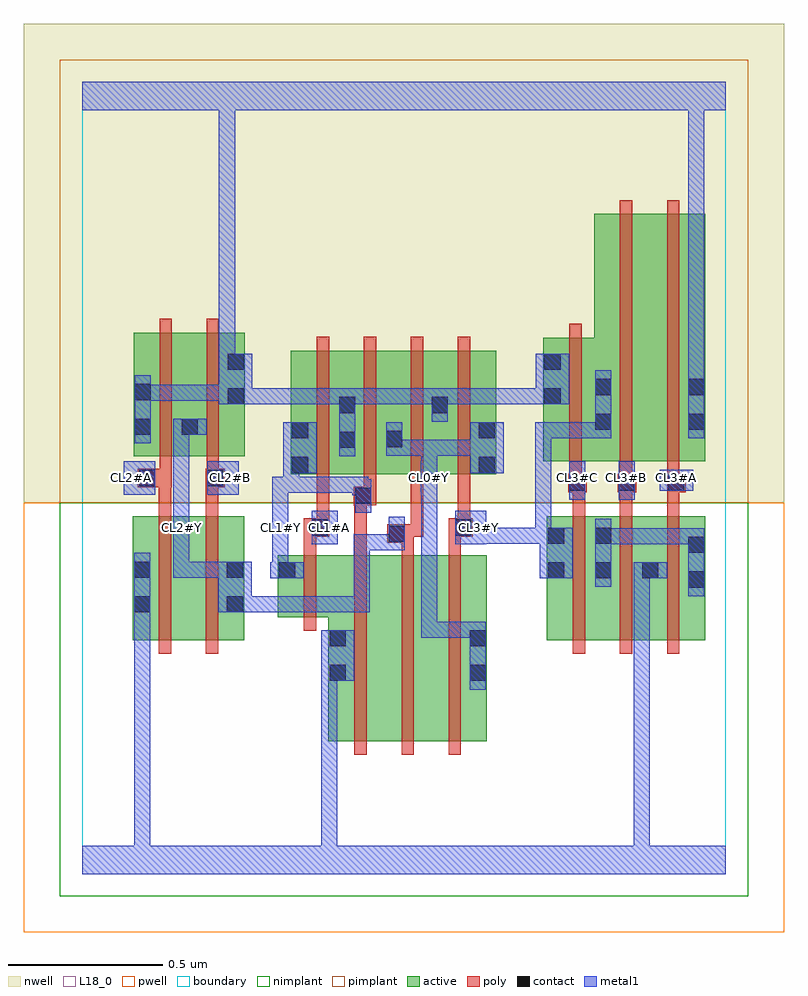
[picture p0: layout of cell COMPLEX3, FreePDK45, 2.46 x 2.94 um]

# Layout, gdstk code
import gdstk
lib = gdstk.Library(unit=1e-6, precision=1e-09)
def R(c, l, rs):  # rectangles x0, y0, x1, y1
    for r in rs: c.add(gdstk.rectangle(r[:2], r[2:], *l))
def A(c, l, x, y, w, h, nx, ny, dx, dy):  # array of equal rectangles
    R(c, l, [(x+i*dx, y+j*dy, x+i*dx+w, y+j*dy+h) for i in range(nx) for j in range(ny)])
active = (1, 0)
pwell = (2, 0)
nwell = (3, 0)
nimplant = (4, 0)
pimplant = (5, 0)
poly = (9, 0)
contact = (10, 0)
metal1 = (11, 0)
L18_0 = (18, 0)
boundary = (235, 0)

complex3 = lib.new_cell('COMPLEX3')
R(complex3, active, [(0.796,0.43,0.976,1.03), (0.976,0.43,1.128,1.03), (1.128,0.43,1.308,1.03), (1.248,0.43,1.308,1.03), (0.796,0.62,0.856,0.83), (0.164,0.756,0.224,1.156), (0.164,0.756,0.344,1.156), (0.344,0.756,0.524,1.156), (0.464,0.756,0.524,1.156), (1.502,0.756,1.562,1.156), (1.502,0.756,1.714,1.156), (1.654,0.756,1.714,1.156), (1.654,0.756,1.866,1.156), (1.806,0.756,2.014,1.156), (1.806,0.756,1.866,1.012), (1.954,0.756,2.014,1.156), (0.632,0.83,0.856,1.03), (0.632,0.952,0.692,1.03), (0.674,1.292,0.734,1.692), (0.674,1.292,0.886,1.692), (0.826,1.292,0.886,1.692), (0.826,1.292,1.038,1.692), (0.978,1.292,1.186,1.692), (0.978,1.292,1.038,1.644), (1.126,1.292,1.186,1.692), (1.126,1.292,1.338,1.692), (1.278,1.292,1.338,1.644), (1.49,1.334,1.55,1.734), (1.49,1.334,1.714,1.734), (1.654,1.334,1.834,2.134), (1.834,1.334,2.014,2.134), (1.954,1.334,2.014,2.134), (0.166,1.35,0.378,1.75), (0.166,1.35,0.226,1.644), (0.318,1.35,0.526,1.75), (0.466,1.35,0.526,1.75), (0.318,1.416,0.378,1.644), (1.654,1.432,1.714,1.644)])
R(complex3, pwell, [(-0.188,-0.188,2.268,1.2)])
R(complex3, nwell, [(-0.188,1.2,2.268,2.748)])
R(complex3, nimplant, [(-0.072,-0.072,2.152,1.2)])
R(complex3, pimplant, [(-0.072,1.2,2.152,2.632)])
A(complex3, poly, 0.88, 0.386, 0.04, 0.688, 3, 1, 0.152, 0)
A(complex3, poly, 1.586, 0.712, 0.04, 0.488, 3, 1, 0.152, 0)
A(complex3, poly, 1.586, 1.16, 0.04, 0.114, 3, 1, 0.152, 0)
A(complex3, poly, 1.57, 1.234, 0.06, 0.06, 3, 1, 0.16, 0)
A(complex3, poly, 0.758, 1.248, 0.04, 0.488, 4, 1, 0.152, 0)
R(complex3, poly, [(0.248,0.712,0.288,1.2), (0.4,0.712,0.44,1.2), (0.716,0.786,0.756,1.074), (0.716,1.034,0.756,1.13), (0.88,1.034,0.92,1.232), (1.032,1.034,1.072,1.11), (1.184,1.034,1.224,1.13), (0.986,1.07,1.072,1.13), (0.716,1.09,0.798,1.15), (1.032,1.09,1.072,1.13), (1.032,1.09,1.102,1.13), (1.062,1.09,1.102,1.288), (1.184,1.09,1.262,1.15), (0.758,1.11,0.798,1.15), (0.758,1.11,0.798,1.15), (0.758,1.11,0.798,1.288), (1.214,1.11,1.254,1.15), (1.214,1.11,1.254,1.15), (1.214,1.11,1.254,1.288), (0.248,1.16,0.288,1.29), (0.4,1.16,0.44,1.29), (0.878,1.192,0.95,1.252), (0.88,1.192,0.92,1.232), (0.88,1.192,0.92,1.232), (0.91,1.212,0.95,1.288), (1.586,1.234,1.626,1.274), (1.586,1.234,1.626,1.274), (1.738,1.234,1.778,1.274), (1.738,1.234,1.778,1.274), (1.89,1.234,1.93,1.274), (1.89,1.234,1.93,1.274), (0.18,1.25,0.29,1.31), (0.248,1.25,0.288,1.29), (0.248,1.25,0.288,1.29), (0.4,1.25,0.46,1.31), (1.574,1.254,1.614,1.33), (1.738,1.254,1.778,1.33), (1.89,1.254,1.93,1.33), (0.25,1.27,0.29,1.346), (0.402,1.27,0.442,1.346), (0.402,1.27,0.442,1.31), (0.402,1.27,0.442,1.31), (1.574,1.29,1.614,1.778), (1.738,1.29,1.778,2.178), (1.89,1.29,1.93,2.178), (0.25,1.306,0.29,1.794), (0.402,1.306,0.442,1.794)])
A(complex3, contact, 1.506, 0.956, 0.052, 0.052, 3, 1, 0.152, 0)
A(complex3, contact, 1.574, 1.238, 0.052, 0.052, 3, 1, 0.16, 0)
R(complex3, contact, [(0.8,0.624,0.852,0.676), (1.252,0.624,1.304,0.676), (0.8,0.736,0.852,0.788), (1.252,0.736,1.304,0.788), (0.168,0.846,0.22,0.898), (0.468,0.846,0.52,0.898), (1.958,0.926,2.01,0.978), (0.636,0.956,0.688,1.008), (0.168,0.958,0.22,1.01), (0.468,0.958,0.52,1.01), (1.958,1.038,2.01,1.09), (1.506,1.068,1.558,1.12), (1.658,1.068,1.71,1.12), (0.99,1.074,1.042,1.126), (0.742,1.094,0.794,1.146), (1.206,1.094,1.258,1.146), (0.882,1.196,0.934,1.248), (0.184,1.254,0.236,1.306), (0.404,1.254,0.456,1.306), (0.678,1.296,0.73,1.348), (1.282,1.296,1.334,1.348), (0.83,1.378,0.882,1.43), (0.982,1.38,1.034,1.432), (0.678,1.408,0.73,1.46), (1.282,1.408,1.334,1.46), (0.17,1.42,0.222,1.472), (0.322,1.42,0.374,1.472), (1.658,1.436,1.71,1.488), (1.958,1.436,2.01,1.488), (0.83,1.49,0.882,1.542), (1.13,1.49,1.182,1.542), (0.47,1.518,0.522,1.57), (1.494,1.518,1.546,1.57), (0.17,1.532,0.222,1.584), (1.658,1.548,1.71,1.6), (1.958,1.548,2.01,1.6), (0.47,1.63,0.522,1.682), (1.494,1.63,1.546,1.682)])
R(complex3, metal1, [(0,0,2.08,0.092), (0.168,0.04,0.22,0.092), (0.168,0.04,0.22,0.092), (0.168,0.04,0.22,0.092), (0.168,0.04,0.22,0.092), (0.168,0.04,0.22,0.092), (0.168,0.04,0.22,0.092), (0.168,0.04,0.22,0.092), (0.168,0.04,0.22,0.092), (0.168,0.04,0.22,0.092), (0.168,0.04,0.22,0.092), (0.168,0.04,0.22,0.092), (0.168,0.04,0.22,0.092), (0.168,0.04,0.22,0.87), (0.772,0.04,0.824,0.092), (0.772,0.04,0.824,0.092), (0.772,0.04,0.824,0.092), (0.772,0.04,0.824,0.092), (0.772,0.04,0.824,0.092), (0.772,0.04,0.824,0.092), (0.772,0.04,0.824,0.092), (0.772,0.04,0.824,0.092), (0.772,0.04,0.824,0.676), (1.782,0.04,1.834,0.092), (1.782,0.04,1.834,0.092), (1.782,0.04,1.834,0.092), (1.782,0.04,1.834,0.092), (1.782,0.04,1.834,0.092), (1.782,0.04,1.834,0.092), (1.782,0.04,1.834,0.092), (1.782,0.04,1.834,0.092), (1.782,0.04,1.834,1.008), (1.252,0.596,1.304,0.816), (0.772,0.624,0.88,0.788), (1.096,0.764,1.148,0.816), (1.096,0.764,1.304,0.816), (1.096,0.764,1.148,1.278), (1.252,0.764,1.304,0.816), (1.252,0.764,1.304,0.816), (0.168,0.818,0.22,1.038), (0.44,0.846,0.548,1.01), (0.496,0.846,0.548,0.898), (0.496,0.846,0.548,0.898), (0.496,0.846,0.548,0.898), (0.496,0.846,0.548,0.898), (0.496,0.846,0.66,0.898), (0.608,0.846,0.66,0.898), (0.608,0.846,0.93,0.898), (0.878,0.846,0.93,0.898), (0.878,0.846,0.93,0.898), (0.878,0.846,0.93,0.898), (0.878,0.846,0.93,1.098), (1.958,0.898,2.01,1.118), (1.658,0.928,1.71,1.148), (0.608,0.956,0.716,1.008), (0.614,0.956,0.666,1.118), (1.478,0.956,1.586,1.12), (1.782,0.956,1.834,1.008), (1.782,0.956,1.834,1.008), (1.782,0.956,1.834,1.008), (1.782,0.956,1.834,1.008), (1.782,0.956,1.89,1.008), (0.294,0.958,0.346,1.01), (0.294,0.958,0.346,1.01), (0.294,0.958,0.346,1.01), (0.294,0.958,0.492,1.01), (0.294,0.958,0.346,1.118), (0.878,1.046,0.93,1.098), (0.878,1.046,0.934,1.098), (0.882,1.046,0.934,1.098), (0.882,1.046,1.038,1.098), (0.986,1.046,1.038,1.098), (0.986,1.046,1.042,1.098), (0.99,1.046,1.042,1.154), (0.294,1.066,0.346,1.174), (0.614,1.066,0.666,1.174), (0.742,1.066,0.826,1.174), (1.206,1.066,1.306,1.174), (1.658,1.066,1.71,1.118), (1.658,1.066,1.71,1.118), (1.658,1.066,1.82,1.118), (1.768,1.066,1.82,1.118), (1.768,1.066,2.01,1.118), (1.958,1.066,2.01,1.118), (1.958,1.066,2.01,1.118), (1.254,1.068,1.306,1.12), (1.254,1.068,1.306,1.12), (1.254,1.068,1.516,1.12), (1.464,1.068,1.516,1.46), (1.464,1.068,1.53,1.12), (1.478,1.068,1.53,1.12), (0.294,1.122,0.346,1.174), (0.294,1.122,0.346,1.174), (0.294,1.122,0.346,1.472), (0.614,1.122,0.666,1.284), (0.882,1.168,0.934,1.276), (1.574,1.21,1.626,1.334), (1.734,1.21,1.786,1.334), (0.872,1.224,0.934,1.276), (0.872,1.224,0.924,1.284), (0.134,1.226,0.236,1.334), (0.404,1.226,0.506,1.334), (1.094,1.226,1.148,1.334), (0.614,1.232,0.702,1.284), (0.65,1.232,0.702,1.284), (0.65,1.232,0.702,1.284), (0.65,1.232,0.924,1.284), (0.65,1.232,0.702,1.348), (1.866,1.238,1.974,1.306), (1.096,1.282,1.148,1.334), (1.096,1.282,1.148,1.334), (1.096,1.282,1.148,1.404), (0.65,1.296,0.758,1.46), (1.254,1.296,1.362,1.46), (0.83,1.35,0.882,1.57), (0.982,1.352,1.034,1.46), (0.982,1.352,1.148,1.404), (1.096,1.352,1.148,1.404), (1.096,1.352,1.148,1.404), (1.096,1.352,1.148,1.404), (1.096,1.352,1.306,1.404), (1.254,1.352,1.306,1.404), (1.254,1.352,1.306,1.404), (0.17,1.392,0.222,1.612), (1.464,1.408,1.516,1.46), (1.464,1.408,1.516,1.46), (1.464,1.408,1.516,1.46), (1.464,1.408,1.516,1.46), (1.464,1.408,1.516,1.46), (1.464,1.408,1.71,1.46), (1.658,1.408,1.71,1.628), (1.958,1.408,2.01,1.628), (0.294,1.42,0.402,1.472), (1.13,1.462,1.182,1.57), (0.442,1.518,0.55,1.682), (0.498,1.518,0.714,1.57), (0.662,1.518,0.714,1.57), (0.662,1.518,0.714,1.57), (0.662,1.518,0.714,1.57), (0.662,1.518,0.882,1.57), (0.83,1.518,0.934,1.57), (0.882,1.518,0.934,1.57), (0.882,1.518,1.038,1.57), (0.986,1.518,1.038,1.57), (0.986,1.518,1.044,1.57), (0.992,1.518,1.044,1.57), (0.992,1.518,1.182,1.57), (1.13,1.518,1.406,1.57), (1.354,1.518,1.406,1.57), (1.354,1.518,1.406,1.57), (1.354,1.518,1.406,1.57), (1.354,1.518,1.518,1.57), (1.466,1.518,1.574,1.682), (0.17,1.53,0.222,1.582), (0.17,1.53,0.222,1.582), (0.17,1.53,0.346,1.582), (0.294,1.53,0.346,1.582), (0.294,1.53,0.346,1.582), (0.294,1.53,0.346,1.582), (0.294,1.53,0.494,1.582), (1.958,1.576,2.01,2.52), (0.442,1.63,0.494,1.682), (0.442,1.63,0.494,1.682), (0.442,1.63,0.494,1.682), (0.442,1.63,0.494,1.682), (0.442,1.63,0.494,1.682), (0.442,1.63,0.494,1.682), (0.442,1.63,0.494,1.682), (0.442,1.63,0.494,1.682), (0.442,1.63,0.494,2.52), (0,2.468,2.08,2.56), (0.442,2.468,0.494,2.52), (0.442,2.468,0.494,2.52), (0.442,2.468,0.494,2.52), (0.442,2.468,0.494,2.52), (0.442,2.468,0.494,2.52), (0.442,2.468,0.494,2.52), (0.442,2.468,0.494,2.52), (0.442,2.468,0.494,2.52), (1.958,2.468,2.01,2.52), (1.958,2.468,2.01,2.52), (1.958,2.468,2.01,2.52), (1.958,2.468,2.01,2.52), (1.958,2.468,2.01,2.52), (1.958,2.468,2.01,2.52), (1.958,2.468,2.01,2.52), (1.958,2.468,2.01,2.52)])
A(complex3, L18_0, 1.574, 1.254, 0.052, 0.052, 3, 1, 0.16, 0)
R(complex3, L18_0, [(0,0,2.08,0.092), (0.168,0.04,0.22,0.092), (0.168,0.04,0.22,0.092), (0.168,0.04,0.22,0.092), (0.168,0.04,0.22,0.092), (0.168,0.04,0.22,0.092), (0.168,0.04,0.22,0.092), (0.168,0.04,0.22,0.092), (0.168,0.04,0.22,0.092), (0.168,0.04,0.22,0.092), (0.168,0.04,0.22,0.092), (0.168,0.04,0.22,0.092), (0.168,0.04,0.22,0.092), (0.168,0.04,0.22,0.87), (0.772,0.04,0.824,0.092), (0.772,0.04,0.824,0.092), (0.772,0.04,0.824,0.092), (0.772,0.04,0.824,0.092), (0.772,0.04,0.824,0.092), (0.772,0.04,0.824,0.092), (0.772,0.04,0.824,0.092), (0.772,0.04,0.824,0.092), (0.772,0.04,0.824,0.676), (1.782,0.04,1.834,0.092), (1.782,0.04,1.834,0.092), (1.782,0.04,1.834,0.092), (1.782,0.04,1.834,0.092), (1.782,0.04,1.834,0.092), (1.782,0.04,1.834,0.092), (1.782,0.04,1.834,0.092), (1.782,0.04,1.834,0.092), (1.782,0.04,1.834,1.008), (1.252,0.596,1.304,0.816), (0.772,0.624,0.88,0.788), (1.096,0.764,1.148,0.816), (1.096,0.764,1.148,1.278), (1.096,0.764,1.304,0.816), (1.252,0.764,1.304,0.816), (1.252,0.764,1.304,0.816), (0.168,0.818,0.22,1.038), (0.44,0.846,0.548,1.01), (0.496,0.846,0.548,0.898), (0.496,0.846,0.548,0.898), (0.496,0.846,0.548,0.898), (0.496,0.846,0.548,0.898), (0.496,0.846,0.66,0.898), (0.608,0.846,0.66,0.898), (0.608,0.846,0.93,0.898), (0.878,0.846,0.93,0.898), (0.878,0.846,0.93,0.898), (0.878,0.846,0.93,0.898), (0.878,0.846,0.93,1.098), (0.608,0.956,0.716,1.008), (0.614,0.956,0.666,1.118), (1.478,0.956,1.586,1.12), (1.782,0.956,1.834,1.008), (1.782,0.956,1.834,1.008), (1.782,0.956,1.834,1.008), (1.782,0.956,1.834,1.008), (1.782,0.956,1.89,1.008), (0.294,0.958,0.346,1.01), (0.294,0.958,0.346,1.01), (0.294,0.958,0.346,1.01), (0.294,0.958,0.346,1.118), (0.294,0.958,0.492,1.01), (0.878,1.046,0.93,1.098), (0.878,1.046,0.934,1.098), (0.882,1.046,0.934,1.098), (0.882,1.046,1.038,1.098), (0.986,1.046,1.038,1.098), (0.986,1.046,1.042,1.098), (0.99,1.046,1.042,1.154), (0.294,1.066,0.346,1.174), (0.614,1.066,0.666,1.174), (0.742,1.066,0.826,1.174), (1.206,1.066,1.306,1.174), (1.254,1.068,1.306,1.12), (1.254,1.068,1.306,1.12), (1.254,1.068,1.516,1.12), (1.464,1.068,1.53,1.12), (1.464,1.068,1.516,1.46), (1.478,1.068,1.53,1.12), (0.294,1.094,0.346,1.146), (0.614,1.094,0.666,1.146), (0.774,1.094,0.826,1.146), (1.254,1.094,1.306,1.146), (0.294,1.122,0.346,1.174), (0.294,1.122,0.346,1.174), (0.294,1.122,0.346,1.472), (0.614,1.122,0.666,1.284), (0.882,1.168,0.934,1.276), (1.574,1.21,1.626,1.334), (1.734,1.21,1.786,1.334), (0.872,1.224,0.924,1.284), (0.872,1.224,0.934,1.276), (0.134,1.226,0.236,1.334), (0.404,1.226,0.506,1.334), (1.094,1.226,1.148,1.334), (0.614,1.232,0.702,1.284), (0.65,1.232,0.702,1.284), (0.65,1.232,0.702,1.284), (0.65,1.232,0.702,1.348), (0.65,1.232,0.924,1.284), (1.866,1.238,1.974,1.306), (0.134,1.254,0.186,1.306), (0.454,1.254,0.506,1.306), (1.094,1.254,1.146,1.306), (1.096,1.282,1.148,1.334), (1.096,1.282,1.148,1.334), (1.096,1.282,1.148,1.404), (0.65,1.296,0.758,1.46), (1.254,1.296,1.362,1.46), (0.83,1.35,0.882,1.57), (0.982,1.352,1.034,1.46), (0.982,1.352,1.148,1.404), (1.096,1.352,1.148,1.404), (1.096,1.352,1.148,1.404), (1.096,1.352,1.148,1.404), (1.096,1.352,1.306,1.404), (1.254,1.352,1.306,1.404), (1.254,1.352,1.306,1.404), (0.17,1.392,0.222,1.612), (1.464,1.408,1.516,1.46), (1.464,1.408,1.516,1.46), (1.464,1.408,1.516,1.46), (1.464,1.408,1.516,1.46), (1.464,1.408,1.516,1.46), (1.464,1.408,1.71,1.46), (1.658,1.408,1.71,1.628), (1.958,1.408,2.01,1.628), (0.294,1.42,0.402,1.472), (1.13,1.462,1.182,1.57), (0.442,1.518,0.55,1.682), (0.498,1.518,0.714,1.57), (0.662,1.518,0.714,1.57), (0.662,1.518,0.714,1.57), (0.662,1.518,0.714,1.57), (0.662,1.518,0.882,1.57), (0.83,1.518,0.934,1.57), (0.882,1.518,0.934,1.57), (0.882,1.518,1.038,1.57), (0.986,1.518,1.038,1.57), (0.986,1.518,1.044,1.57), (0.992,1.518,1.044,1.57), (0.992,1.518,1.182,1.57), (1.13,1.518,1.406,1.57), (1.354,1.518,1.406,1.57), (1.354,1.518,1.406,1.57), (1.354,1.518,1.406,1.57), (1.354,1.518,1.518,1.57), (1.466,1.518,1.574,1.682), (0.17,1.53,0.222,1.582), (0.17,1.53,0.222,1.582), (0.17,1.53,0.346,1.582), (0.294,1.53,0.346,1.582), (0.294,1.53,0.346,1.582), (0.294,1.53,0.346,1.582), (0.294,1.53,0.494,1.582), (1.958,1.576,2.01,2.52), (0.442,1.63,0.494,1.682), (0.442,1.63,0.494,1.682), (0.442,1.63,0.494,1.682), (0.442,1.63,0.494,1.682), (0.442,1.63,0.494,1.682), (0.442,1.63,0.494,1.682), (0.442,1.63,0.494,1.682), (0.442,1.63,0.494,1.682), (0.442,1.63,0.494,2.52), (0,2.468,2.08,2.56), (0.442,2.468,0.494,2.52), (0.442,2.468,0.494,2.52), (0.442,2.468,0.494,2.52), (0.442,2.468,0.494,2.52), (0.442,2.468,0.494,2.52), (0.442,2.468,0.494,2.52), (0.442,2.468,0.494,2.52), (0.442,2.468,0.494,2.52), (1.958,2.468,2.01,2.52), (1.958,2.468,2.01,2.52), (1.958,2.468,2.01,2.52), (1.958,2.468,2.01,2.52), (1.958,2.468,2.01,2.52), (1.958,2.468,2.01,2.52), (1.958,2.468,2.01,2.52), (1.958,2.468,2.01,2.52)])
R(complex3, boundary, [(0,0,2.08,2.56)])
complex3.add(gdstk.Label('CL0#Y', (1.12,1.28), layer=11, texttype=0))
complex3.add(gdstk.Label('CL1#A', (0.8,1.12), layer=11, texttype=0))
complex3.add(gdstk.Label('CL1#Y', (0.64,1.12), layer=11, texttype=0))
complex3.add(gdstk.Label('CL2#A', (0.16,1.28), layer=11, texttype=0))
complex3.add(gdstk.Label('CL2#B', (0.48,1.28), layer=11, texttype=0))
complex3.add(gdstk.Label('CL2#Y', (0.32,1.12), layer=11, texttype=0))
complex3.add(gdstk.Label('CL3#A', (1.92,1.28), layer=11, texttype=0))
complex3.add(gdstk.Label('CL3#B', (1.76,1.28), layer=11, texttype=0))
complex3.add(gdstk.Label('CL3#C', (1.6,1.28), layer=11, texttype=0))
complex3.add(gdstk.Label('CL3#Y', (1.28,1.12), layer=11, texttype=0))

lib.write_gds('COMPLEX3.gds')
